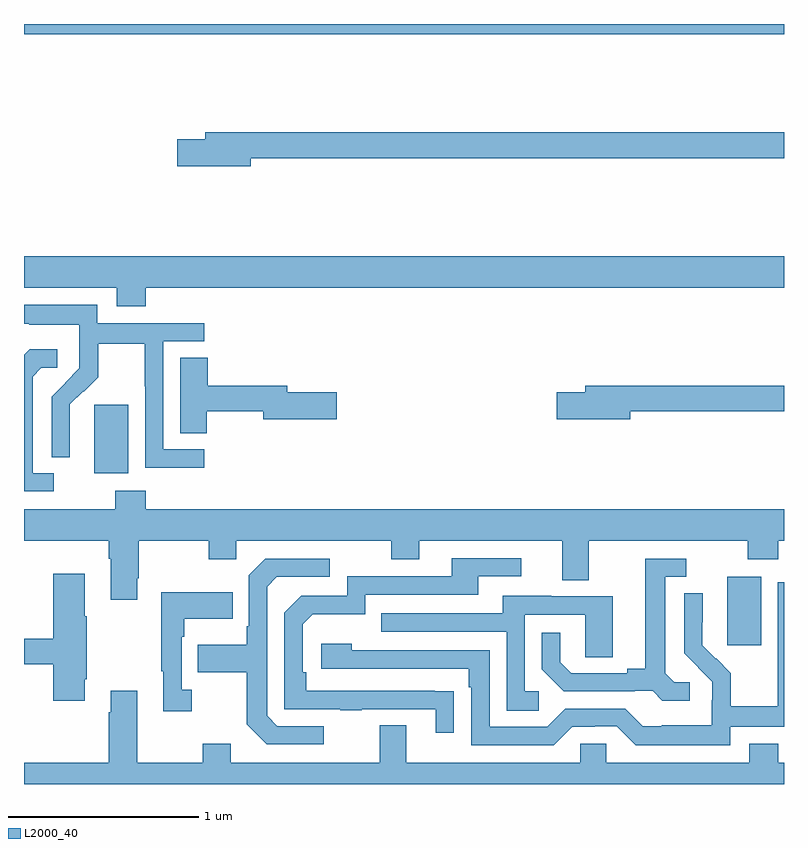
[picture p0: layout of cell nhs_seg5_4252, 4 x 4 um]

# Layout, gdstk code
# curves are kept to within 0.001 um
import gdstk
lib = gdstk.Library(unit=1e-6, precision=1e-09)
def R(c, l, rs):  # rectangles x0, y0, x1, y1
    for r in rs: c.add(gdstk.rectangle(r[:2], r[2:], *l))
def P(c, l, *ps):  # polygons
    for p in ps: c.add(gdstk.Polygon(p, *l))
L2000_40 = (2000, 40)

nhs_seg5_4252 = lib.new_cell('nhs_seg5_4252')
R(nhs_seg5_4252, L2000_40, [(364.7,869.529,364.879,869.89), (361.37,870.434,361.549,870.795), (361,872.744,365,872.799)])
P(nhs_seg5_4252, L2000_40, [(362.194,872.092),(365,872.092),(365,872.228),(361.955,872.228),(361.955,872.192),(361.806,872.192),(361.806,872.05),(362.194,872.05)],
  [(361.64,871.412),(365,871.412),(365,871.576),(361,871.576),(361,871.412),(361.487,871.412),(361.487,871.313),(361.64,871.313)],
  [(361.948,870.561),(361.734,870.561),(361.734,871.128),(361.948,871.128),(361.948,871.224),(361.386,871.224),(361.386,871.321),(361,871.321),(361,871.221),(361.027,871.221),(361.027,871.217),(361.29,871.217),(361.29,871.083),(361.292,871.083),(361.292,870.986),(361.146,870.838),(361.146,870.52),(361.242,870.52),(361.241,870.797),(361.311,870.867),(361.314,870.864),(361.391,870.941),(361.391,871.116),(361.636,871.116),(361.636,870.892),(361.638,870.892),(361.638,870.463),(361.948,870.463)],
  [(361.156,870.435),(361.045,870.435),(361.045,870.943),(361.092,870.99),(361.174,870.99),(361.174,871.087),(361.03,871.087),(361,871.057),(361,870.339),(361.156,870.339)],
  [(361.962,870.76),(362.258,870.76),(362.258,870.718),(362.647,870.718),(362.647,870.86),(362.386,870.86),(362.386,870.896),(361.967,870.896),(361.967,871.043),(361.823,871.043),(361.823,870.646),(361.962,870.646)],
  [(364.192,870.76),(365,870.76),(365,870.896),(363.953,870.896),(363.953,870.86),(363.804,870.86),(363.804,870.718),(364.192,870.718)],
  [(361.64,870.343),(361.48,870.343),(361.48,870.244),(361,870.244),(361,870.08),(361.445,870.08),(361.445,869.984),(361.457,869.984),(361.457,869.769),(361.597,869.769),(361.597,869.881),(361.605,869.881),(361.605,870.08),(361.972,870.08),(361.972,869.981),(362.118,869.981),(362.118,870.08),(362.932,870.08),(362.932,869.981),(363.079,869.981),(363.079,870.08),(363.833,870.08),(363.833,869.872),(363.973,869.872),(363.973,870.08),(364.81,870.08),(364.81,869.981),(364.97,869.981),(364.97,870.08),(365,870.08),(365,870.244),(361.64,870.244)],
  [(363.263,869.288),(362.486,869.289),(362.486,869.386),(362.466,869.386),(362.466,869.64),(362.519,869.693),(362.796,869.693),(362.796,869.796),(363.391,869.796),(363.391,869.892),(363.616,869.892),(363.616,869.988),(363.251,869.988),(363.251,869.892),(362.7,869.892),(362.7,869.79),(362.46,869.79),(362.37,869.7),(362.37,869.193),(362.665,869.193),(362.665,869.188),(362.777,869.188),(362.777,869.193),(363.167,869.193),(363.167,869.07),(363.263,869.07)],
  [(362.578,869.103),(362.334,869.103),(362.28,869.157),(362.28,869.838),(362.331,869.889),(362.608,869.889),(362.608,869.985),(362.271,869.985),(362.184,869.898),(362.184,869.629),(362.172,869.629),(362.172,869.533),(361.915,869.533),(361.915,869.386),(362.172,869.386),(362.172,869.113),(362.277,869.007),(362.578,869.007)],
  [(364.504,869.334),(364.422,869.334),(364.375,869.381),(364.375,869.889),(364.486,869.889),(364.486,869.985),(364.271,869.985),(364.271,869.405),(364.175,869.405),(364.175,869.382),(363.88,869.382),(363.823,869.439),(363.823,869.596),(363.726,869.596),(363.726,869.402),(363.842,869.286),(364.214,869.286),(364.214,869.289),(364.308,869.289),(364.36,869.237),(364.504,869.237)],
  [(361.321,869.35),(361.329,869.35),(361.329,869.681),(361.321,869.681),(361.321,869.905),(361.154,869.905),(361.154,869.564),(361,869.564),(361,869.428),(361.154,869.428),(361.154,869.238),(361.321,869.238)],
  [(364.716,869.1),(365,869.1),(365,869.862),(364.968,869.862),(364.968,869.432),(364.966,869.432),(364.966,869.209),(364.721,869.209),(364.721,869.383),(364.644,869.46),(364.641,869.457),(364.571,869.528),(364.572,869.804),(364.476,869.804),(364.476,869.486),(364.622,869.338),(364.622,869.241),(364.62,869.241),(364.62,869.107),(364.357,869.107),(364.357,869.103),(364.257,869.103),(364.164,869.196),(363.849,869.196),(363.753,869.1),(363.45,869.1),(363.45,869.502),(362.726,869.502),(362.726,869.536),(362.565,869.536),(362.565,869.406),(363.341,869.406),(363.341,869.309),(363.354,869.309),(363.354,869.004),(363.789,869.004),(363.885,869.1),(364.004,869.1),(364.004,869.103),(364.119,869.103),(364.219,869.003),(364.716,869.003)],
  [(361.882,869.294),(361.83,869.294),(361.83,869.573),(361.843,869.573),(361.843,869.669),(362.099,869.669),(362.099,869.809),(361.722,869.809),(361.722,869.393),(361.733,869.393),(361.733,869.181),(361.882,869.181)],
  [(363.709,869.286),(363.636,869.286),(363.636,869.691),(363.954,869.691),(363.954,869.467),(364.099,869.467),(364.099,869.787),(363.775,869.787),(363.775,869.791),(363.521,869.791),(363.521,869.697),(362.881,869.697),(362.881,869.601),(363.54,869.601),(363.54,869.185),(363.709,869.185)],
  [(365,868.912),(364.97,868.912),(364.97,869.011),(364.817,869.011),(364.817,868.912),(364.065,868.912),(364.065,869.01),(363.927,869.01),(363.927,868.912),(363.013,868.912),(363.013,869.107),(362.873,869.107),(362.873,868.912),(362.089,868.912),(362.089,869.011),(361.942,869.011),(361.942,868.912),(361.597,868.912),(361.597,869.29),(361.457,869.29),(361.457,869.177),(361.445,869.177),(361.445,868.912),(361,868.912),(361,868.799),(365,868.799)])

lib.write_gds('nhs_seg5_4252.gds')
